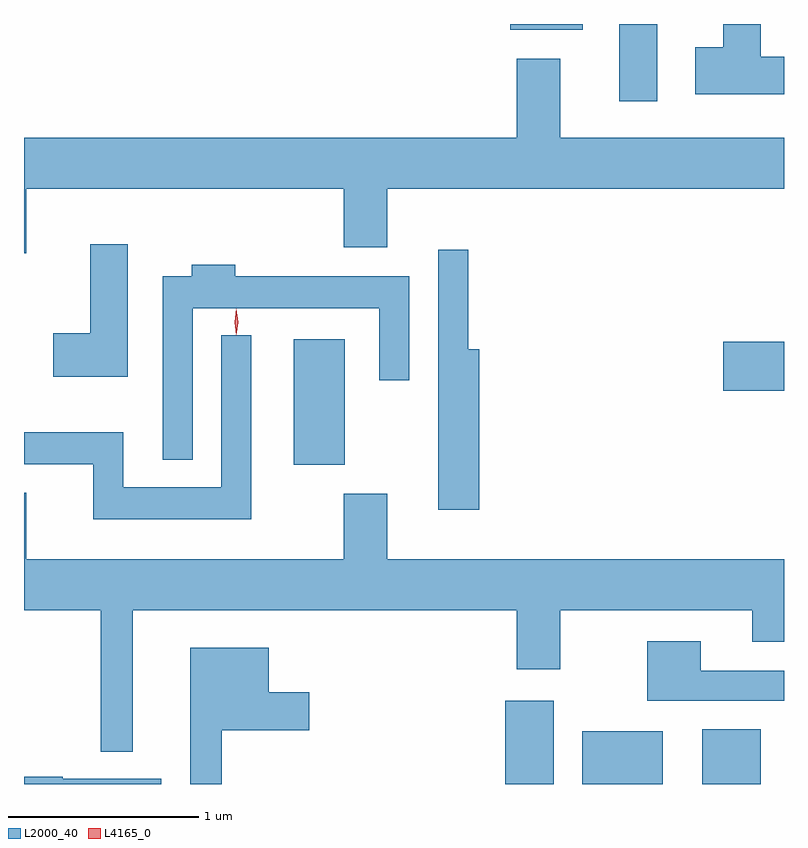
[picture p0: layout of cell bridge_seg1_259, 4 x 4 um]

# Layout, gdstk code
import gdstk
lib = gdstk.Library(unit=1e-6, precision=1e-09)
def R(c, l, rs):  # rectangles x0, y0, x1, y1
    for r in rs: c.add(gdstk.rectangle(r[:2], r[2:], *l))
def P(c, l, *ps):  # polygons
    for p in ps: c.add(gdstk.Polygon(p, *l))
L2000_40 = (2000, 40)
L4165_0 = (4165, 0)

bridge_seg1_259 = lib.new_cell('bridge_seg1_259')
R(bridge_seg1_259, L2000_40, [(962.661,883.122,962.914,883.559), (963.066,883.122,963.489,883.399), (963.696,883.122,964.004,883.409), (961.546,884.801,961.814,885.464), (963.806,885.191,964.127,885.449), (963.261,886.716,963.459,887.122)])
P(bridge_seg1_259, L2000_40, [(964.127,886.949),(964.004,886.949),(964.004,887.122),(963.806,887.122),(963.806,886.999),(963.661,886.999),(963.661,886.751),(964.127,886.751)],
  [(963.069,887.122),(962.296,887.122),(962.296,887.121),(962.686,887.121),(962.686,887.091),(963.069,887.091)],
  [(960.139,886.256),(961.811,886.256),(961.811,885.946),(962.039,885.946),(962.039,886.256),(964.127,886.256),(964.127,886.524),(962.949,886.524),(962.949,886.939),(962.721,886.939),(962.721,886.524),(960.127,886.524),(960.127,885.916),(960.139,885.916)],
  [(960.674,885.964),(960.476,885.964),(960.476,885.494),(960.281,885.494),(960.281,885.266),(960.674,885.266)],
  [(962.524,885.409),(962.464,885.409),(962.464,885.933),(962.306,885.933),(962.306,884.566),(962.524,884.566)],
  [(961.014,885.626),(961.996,885.626),(961.996,885.248),(962.154,885.248),(962.154,885.794),(961.239,885.794),(961.239,885.854),(961.011,885.854),(961.011,885.794),(960.856,885.794),(960.856,884.828),(961.014,884.828)],
  [(961.324,885.483),(961.166,885.483),(961.166,884.684),(960.649,884.684),(960.649,884.974),(960.127,884.974),(960.127,884.806),(960.491,884.806),(960.491,884.516),(961.324,884.516)],
  [(960.699,884.036),(962.721,884.036),(962.721,883.726),(962.949,883.726),(962.949,884.036),(963.961,884.036),(963.961,883.871),(964.127,883.871),(964.127,884.304),(962.039,884.304),(962.039,884.649),(961.811,884.649),(961.811,884.304),(960.139,884.304),(960.139,884.654),(960.127,884.654),(960.127,884.036),(960.531,884.036),(960.531,883.293),(960.699,883.293)],
  [(964.127,883.719),(963.689,883.719),(963.689,883.874),(963.406,883.874),(963.406,883.561),(964.127,883.561)],
  [(961.169,883.406),(961.629,883.406),(961.629,883.604),(961.414,883.604),(961.414,883.839),(961.001,883.839),(961.001,883.122),(961.169,883.122)],
  [(960.849,883.149),(960.33,883.149),(960.33,883.159),(960.127,883.159),(960.127,883.122),(960.849,883.122)])
P(bridge_seg1_259, L4165_0, [(961.244,885.484),(961.235,885.553),(961.244,885.623),(961.245,885.623),(961.245,885.623),(961.255,885.553),(961.245,885.484),(961.245,885.484)])

lib.write_gds('bridge_seg1_259.gds')
